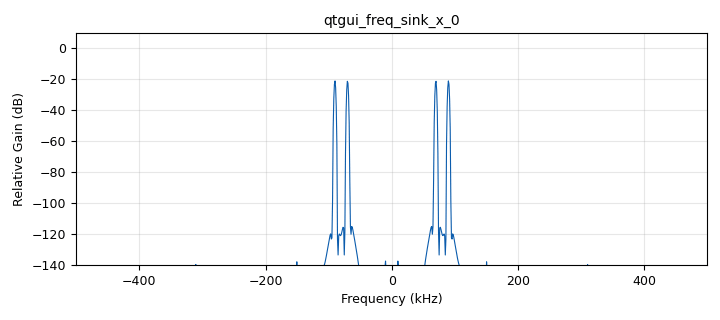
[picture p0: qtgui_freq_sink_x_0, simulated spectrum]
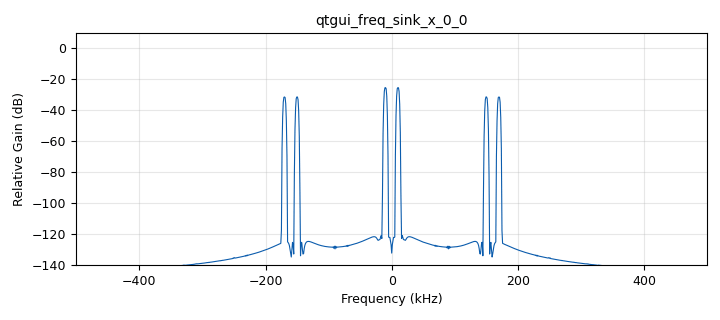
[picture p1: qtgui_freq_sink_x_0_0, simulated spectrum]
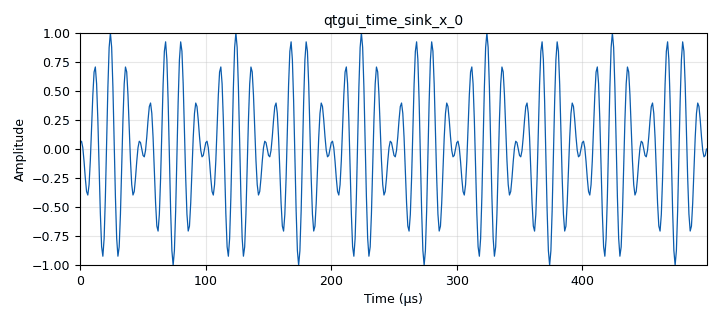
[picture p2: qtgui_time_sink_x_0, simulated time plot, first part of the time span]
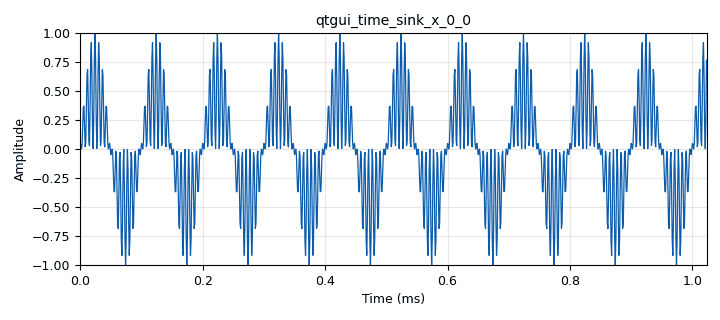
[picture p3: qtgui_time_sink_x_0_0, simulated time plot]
options:
  parameters:
    generate_options: qt_gui
    id: DBL
    output_language: python
    title: Not titled yet
  states: {}

blocks:
- name: samp_rate
  id: variable
  parameters:
    value: 1e6
  states: {}
- name: analog_sig_source_x_0
  id: analog_sig_source_x
  parameters:
    amp: '1'
    comment: MSJ
    freq: '10000'
    offset: '0'
    phase: '0'
    samp_rate: samp_rate
    type: float
    waveform: analog.GR_COS_WAVE
  states: {}
- name: analog_sig_source_x_1
  id: analog_sig_source_x
  parameters:
    amp: '1'
    comment: PORT
    freq: '80000'
    offset: '0'
    phase: '0'
    samp_rate: samp_rate
    type: float
    waveform: analog.GR_COS_WAVE
  states: {}
- name: blocks_multiply_xx_0
  id: blocks_multiply_xx
  parameters:
    comment: DBL
    type: float
  states: {}
- name: blocks_multiply_xx_0_0
  id: blocks_multiply_xx
  parameters:
    comment: DBL
    type: float
  states: {}
- name: qtgui_freq_sink_x_0
  id: qtgui_freq_sink_x
  parameters:
    bw: samp_rate
    fc: '0'
    fftsize: '1024'
    gui_hint: (0,0)
    type: float
  states: {}
- name: qtgui_freq_sink_x_0_0
  id: qtgui_freq_sink_x
  parameters:
    average: '0.05'
    bw: samp_rate
    fc: '0'
    fftsize: '1024'
    gui_hint: (0,1)
    type: float
    wintype: window.WIN_FLATTOP
  states: {}
- name: qtgui_time_sink_x_0
  id: qtgui_time_sink_x
  parameters:
    gui_hint: (1,0)
    size: '1024'
    srate: samp_rate
    type: float
  states: {}
- name: qtgui_time_sink_x_0_0
  id: qtgui_time_sink_x
  parameters:
    gui_hint: (1,1)
    size: '1024'
    srate: samp_rate
    type: float
  states: {}

connections:
- [analog_sig_source_x_0, '0', blocks_multiply_xx_0, '0']
- [analog_sig_source_x_1, '0', blocks_multiply_xx_0, '1']
- [analog_sig_source_x_1, '0', blocks_multiply_xx_0_0, '1']
- [blocks_multiply_xx_0, '0', blocks_multiply_xx_0_0, '0']
- [blocks_multiply_xx_0, '0', qtgui_freq_sink_x_0, '0']
- [blocks_multiply_xx_0, '0', qtgui_time_sink_x_0, '0']
- [blocks_multiply_xx_0_0, '0', qtgui_freq_sink_x_0_0, '0']
- [blocks_multiply_xx_0_0, '0', qtgui_time_sink_x_0_0, '0']

metadata:
  file_format: 1
  grc_version: 3.10.12.0
